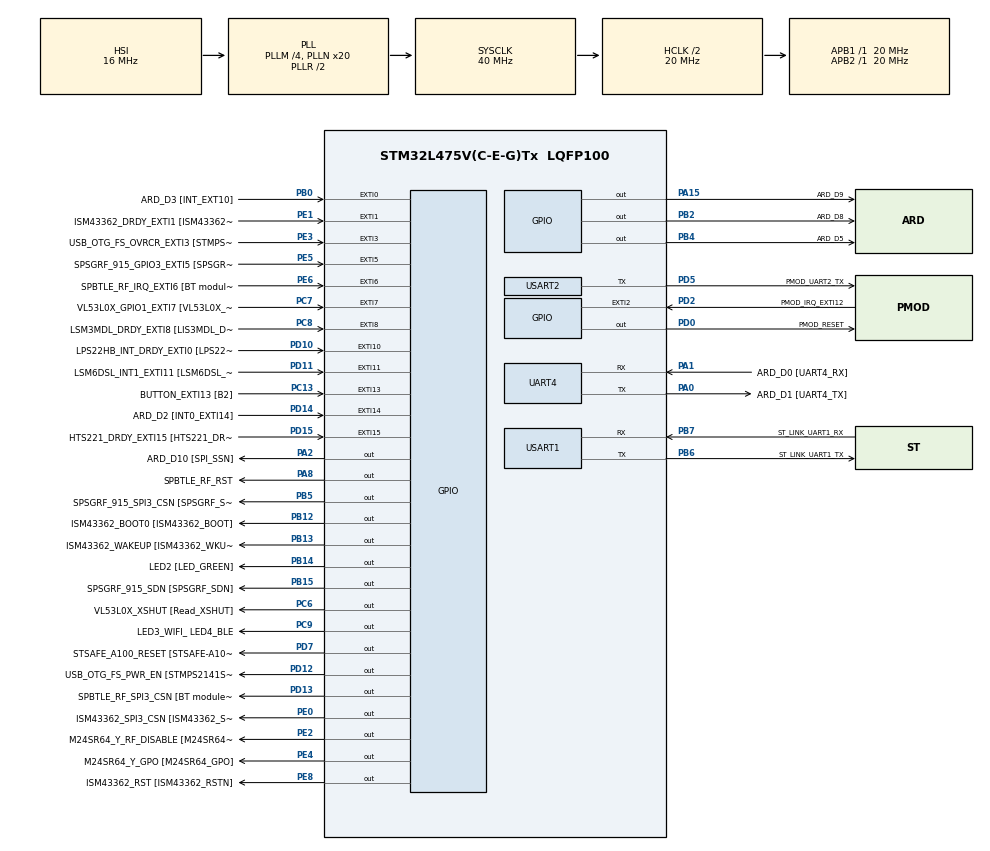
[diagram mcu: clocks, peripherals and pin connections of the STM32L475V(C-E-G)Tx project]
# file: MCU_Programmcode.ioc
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Dma.Request0=UART4_TX
Dma.Request1=USART1_TX
Dma.UART4_TX.0.Direction=DMA_MEMORY_TO_PERIPH
Dma.UART4_TX.0.Instance=DMA2_Channel3
Dma.UART4_TX.0.MemDataAlignment=DMA_MDATAALIGN_BYTE
Dma.UART4_TX.0.MemInc=DMA_MINC_ENABLE
Dma.UART4_TX.0.Mode=DMA_NORMAL
Dma.UART4_TX.0.PeriphDataAlignment=DMA_PDATAALIGN_BYTE
Dma.UART4_TX.0.PeriphInc=DMA_PINC_DISABLE
Dma.UART4_TX.0.Priority=DMA_PRIORITY_LOW
Dma.USART1_TX.1.Direction=DMA_MEMORY_TO_PERIPH
Dma.USART1_TX.1.Instance=DMA1_Channel4
Dma.USART1_TX.1.MemDataAlignment=DMA_MDATAALIGN_BYTE
Dma.USART1_TX.1.MemInc=DMA_MINC_ENABLE
Dma.USART1_TX.1.Mode=DMA_NORMAL
Dma.USART1_TX.1.PeriphDataAlignment=DMA_PDATAALIGN_BYTE
Dma.USART1_TX.1.PeriphInc=DMA_PINC_DISABLE
Dma.USART1_TX.1.Priority=DMA_PRIORITY_LOW
Mcu.Family=STM32L4
Mcu.Name=STM32L475V(C-E-G)Tx
Mcu.Package=LQFP100
NVIC.DMA1_Channel4_IRQn=true\:0\:0\:false\:false\:true\:false\:true\:true
NVIC.DMA2_Channel3_IRQn=true\:0\:0\:false\:false\:true\:false\:true\:true
NVIC.EXTI15_10_IRQn=true\:0\:0\:false\:false\:true\:true\:true\:true
NVIC.EXTI9_5_IRQn=true\:0\:0\:false\:false\:true\:true\:true\:true
NVIC.PriorityGroup=NVIC_PRIORITYGROUP_4
NVIC.UART4_IRQn=true\:0\:0\:false\:false\:true\:true\:true\:true
NVIC.USART1_IRQn=true\:0\:0\:false\:false\:true\:true\:true\:true
PA0.GPIO_Label=ARD_D1 [UART4_TX]
PA0.Mode=Asynchronous
PA0.Signal=UART4_TX
PA1.GPIO_Label=ARD_D0 [UART4_RX]
PA1.Mode=Asynchronous
PA1.Signal=UART4_RX
PA10.GPIO_Label=USB_OTG_FS_ID
PA10.Signal=USB_OTG_FS_ID
PA11.GPIO_Label=USB_OTG_FS_DM
PA11.Signal=USB_OTG_FS_DM
PA12.GPIO_Label=USB_OTG_FS_DP
PA12.Signal=USB_OTG_FS_DP
PA13\ (JTMS-SWDIO).GPIO_Label=SYS_JTMS_SWDIO
PA13\ (JTMS-SWDIO).Signal=SYS_JTMS-SWDIO
PA14\ (JTCK-SWCLK).GPIO_Label=SYS_JTCK_SWCLK
PA14\ (JTCK-SWCLK).Signal=SYS_JTCK-SWCLK
PA15\ (JTDI).GPIO_Label=ARD_D9
PA15\ (JTDI).Signal=GPIO_Output
PA2.GPIO_Label=ARD_D10 [SPI_SSN]
PA2.Signal=GPIO_Output
PA3.GPIO_Label=ARD_D4
PA3.Signal=S_TIM2_CH4
PA4.GPIO_Label=ARD_D7
PA4.Signal=ADCx_IN9
PA5.GPIO_Label=ARD_D13 [SPI1_SCK]
PA5.Signal=SPI1_SCK
PA6.GPIO_Label=ARD_D12 [SPI1_MISO]
PA6.Signal=SPI1_MISO
PA7.GPIO_Label=ARD_D11 [SPI1_MOSI]
PA7.Signal=SPI1_MOSI
PA8.GPIO_Label=SPBTLE_RF_RST
PA8.Signal=GPIO_Output
PA9.GPIO_Label=USB_OTG_FS_VBUS [STMPS2141STR_OUT]
PA9.Signal=USB_OTG_FS_VBUS
PB0.GPIO_Label=ARD_D3 [INT_EXT10]
PB0.Signal=GPXTI0
PB1.GPIO_Label=ARD_D6 [ADC1_IN6]
PB1.Signal=ADCx_IN16
PB10.GPIO_Label=INTERNAL_I2C2_SCL [VL53L0X_SCL]
PB10.GPIO_Pu=GPIO_PULLUP
PB10.Signal=I2C2_SCL
PB11.GPIO_Label=INTERNAL_I2C2_SDA [VL53L0X_SDA]
PB11.GPIO_Pu=GPIO_PULLUP
PB11.Signal=I2C2_SDA
PB12.GPIO_Label=ISM43362_BOOT0 [ISM43362_BOOT]
PB12.Signal=GPIO_Output
PB13.GPIO_Label=ISM43362_WAKEUP [ISM43362_WKUP]
PB13.Signal=GPIO_Output
PB14.GPIO_Label=LED2 [LED_GREEN]
PB14.Signal=GPIO_Output
PB15.GPIO_Label=SPSGRF_915_SDN [SPSGRF_SDN]
PB15.Signal=GPIO_Output
PB2.GPIO_Label=ARD_D8
PB2.Signal=GPIO_Output
PB3\ (JTDO-TRACESWO).GPIO_Label=SYS_JTD0_SWO
PB3\ (JTDO-TRACESWO).Signal=SYS_JTDO-SWO
PB4\ (NJTRST).GPIO_Label=ARD_D5
PB4\ (NJTRST).Signal=GPIO_Output
PB5.GPIO_Label=SPSGRF_915_SPI3_CSN [SPSGRF_SPI_CS]
PB5.PinState=GPIO_PIN_SET
PB5.Signal=GPIO_Output
PB6.GPIO_Label=ST_LINK_UART1_TX
PB6.Mode=Asynchronous
PB6.Signal=USART1_TX
PB7.GPIO_Label=ST_LINK_UART1_RX
PB7.Mode=Asynchronous
PB7.Signal=USART1_RX
PB8.GPIO_Label=ARD_D15 [I2C1_SCL]
PB8.Signal=I2C1_SCL
PB9.GPIO_Label=ARD_D14 [I2C1_SDA]
PB9.Signal=I2C1_SDA
PC0.GPIO_Label=ARD_A5 [ADC]
PC0.Signal=ADCx_IN1
PC1.GPIO_Label=ARD_A4 [ADC]
PC1.Signal=ADCx_IN2
PC10.GPIO_Label=INTERNAL_SPI3_SCK [BT module_SPI_SCLK] [ISM43362_SCK]
PC10.Signal=SPI3_SCK
PC11.GPIO_Label=INTERNAL_SPI3_MISO [BT module_SPI_MISO] [ISM43362_MISO]
PC11.Signal=SPI3_MISO
PC12.GPIO_Label=INTERNAL_SPI3_MOSI [BT module_SPI_MOSI] [ISM43362_MOSI]
PC12.Signal=SPI3_MOSI
PC13.GPIO_Label=BUTTON_EXTI13 [B2]
PC13.GPIO_ModeDefaultEXTI=GPIO_MODE_IT_FALLING
PC13.Signal=GPXTI13
PC14-OSC32_IN\ (PC14).Signal=RCC_OSC32_IN
PC15-OSC32_OUT\ (PC15).Signal=RCC_OSC32_OUT
PC2.GPIO_Label=ARD_A3 [ADC]
PC2.Signal=ADCx_IN3
PC3.GPIO_Label=ARD_A2 [ADC]
PC3.Signal=ADCx_IN4
PC4.GPIO_Label=ARD_A1 [ADC]
PC4.Signal=ADCx_IN13
PC5.GPIO_Label=ARD_A0 [ADC]
PC5.Signal=ADCx_IN14
PC6.GPIO_Label=VL53L0X_XSHUT [Read_XSHUT]
PC6.Signal=GPIO_Output
PC7.GPIO_Label=VL53L0X_GPIO1_EXTI7 [VL53L0X_GPIO1]
PC7.Signal=GPXTI7
PC8.GPIO_Label=LSM3MDL_DRDY_EXTI8 [LIS3MDL_DRDY]
PC8.Signal=GPXTI8
PC9.GPIO_Label=LED3_WIFI_ LED4_BLE
PC9.Signal=GPIO_Output
PD0.GPIO_Label=PMOD_RESET
PD0.Signal=GPIO_Output
PD1.GPIO_Label=PMOD_SPI2_SCK
PD1.Signal=SPI2_SCK
PD10.GPIO_Label=LPS22HB_INT_DRDY_EXTI0 [LPS22HB_INT_DRDY] 
PD10.Signal=GPXTI10
PD11.GPIO_Label=LSM6DSL_INT1_EXTI11 [LSM6DSL_INT1]
PD11.Signal=GPXTI11
PD12.GPIO_Label=USB_OTG_FS_PWR_EN [STMPS2141STR_EN]
PD12.Signal=GPIO_Output
PD13.GPIO_Label=SPBTLE_RF_SPI3_CSN [BT module_SPI_CS]
PD13.PinState=GPIO_PIN_SET
PD13.Signal=GPIO_Output
PD14.GPIO_Label=ARD_D2 [INT0_EXTI14]
PD14.Signal=GPXTI14
PD15.GPIO_Label=HTS221_DRDY_EXTI15 [HTS221_DRDY]
PD15.Signal=GPXTI15
PD2.GPIO_Label=PMOD_IRQ_EXTI12
PD2.Signal=GPXTI2
PD3.GPIO_Label=PMOD_UART2_CTS
PD3.Signal=USART2_CTS
PD4.GPIO_Label=PMOD_UART2_RTS
PD4.Signal=USART2_RTS
PD5.GPIO_Label=PMOD_UART2_TX
PD5.Mode=ModbusCommunication
PD5.Signal=USART2_TX
PD6.GPIO_Label=PMOD_UART2_RX
PD6.Signal=USART2_RX
PD7.GPIO_Label=STSAFE_A100_RESET [STSAFE-A100_RESET]
PD7.Signal=GPIO_Output
PD8.GPIO_Label=INTERNAL_UART3_TX [ISM43362_RX]
PD8.Signal=USART3_TX
PD9.GPIO_Label=INTERNAL_UART3_RX [ISM43362_TX]
PD9.Signal=USART3_RX
PE0.GPIO_Label=ISM43362_SPI3_CSN [ISM43362_SSN]
PE0.PinState=GPIO_PIN_SET
PE0.Signal=GPIO_Output
PE1.GPIO_Label=ISM43362_DRDY_EXTI1 [ISM43362_DATARDY]
PE1.Signal=GPXTI1
PE10.GPIO_Label=QUADSPI_CLK [MX25R6435F_SCLK]
PE10.Signal=QUADSPI_CLK
PE11.GPIO_Label=QUADSPI_NCS [MX25R6435F_SCLK]
PE11.Signal=QUADSPI_NCS
PE12.GPIO_Label=OQUADSPI_BK1_IO0 [MX25R6435F_IO0]
PE12.Signal=QUADSPI_BK1_IO0
PE13.GPIO_Label=QUADSPI_BK1_IO1 [MX25R6435F_IO1]
PE13.Signal=QUADSPI_BK1_IO1
PE14.GPIO_Label=QUAD_SPI_BK1_IO2 [MX25R6435F_IO2]
PE14.Signal=QUADSPI_BK1_IO2
PE15.GPIO_Label=QUAD_SPI_BK1_IO3 [MX25R6435F_IO3]
PE15.Signal=QUADSPI_BK1_IO3
PE2.GPIO_Label=M24SR64_Y_RF_DISABLE [M24SR64_RFDIS]
PE2.Signal=GPIO_Output
PE3.GPIO_Label=USB_OTG_FS_OVRCR_EXTI3 [STMPS2141STR_FAULT]
PE3.Signal=GPXTI3
PE4.GPIO_Label=M24SR64_Y_GPO [M24SR64_GPO]
PE4.Signal=GPIO_Output
PE5.GPIO_Label=SPSGRF_915_GPIO3_EXTI5 [SPSGRF_GPIO_3]
PE5.Signal=GPXTI5
PE6.GPIO_Label=SPBTLE_RF_IRQ_EXTI6 [BT module_SPI_IRQ]
PE6.Signal=GPXTI6
PE7.GPIO_Label=DFSDM1_DATIN2 [MP34DT01_DOUT]
PE7.Signal=S_DATAIN2DFSDM1
PE8.GPIO_Label=ISM43362_RST [ISM43362_RSTN]
PE8.Signal=GPIO_Output
PE9.GPIO_Label=DFSDM1_CKOUT [MP34DT01_CLK]
PE9.Signal=S_CKOUTDFSDM1
ProjectManager.HeapSize=0x200
ProjectManager.StackSize=0x2000
ProjectManager.TargetToolchain=STM32CubeIDE
RCC.ADCFreq_Value=48000000
RCC.AHBCLKDivider=RCC_SYSCLK_DIV2
RCC.AHBFreq_Value=20000000
RCC.APB1Freq_Value=20000000
RCC.APB1TimFreq_Value=20000000
RCC.APB2Freq_Value=20000000
RCC.APB2TimFreq_Value=20000000
RCC.CortexFreq_Value=20000000
RCC.HCLKFreq_Value=20000000
RCC.HSE_VALUE=8000000
RCC.HSI_VALUE=16000000
RCC.LSE_VALUE=32768
RCC.MSI_VALUE=4000000
RCC.PLLM=4
RCC.PLLN=20
RCC.PLLSAI1N=24
RCC.PLLSourceVirtual=RCC_PLLSOURCE_HSI
RCC.SYSCLKFreq_VALUE=40000000
RCC.SYSCLKSource=RCC_SYSCLKSOURCE_PLLCLK
RCC.USBFreq_Value=48000000
RCC.VCOOutputFreq_Value=80000000
SH.ADCx_IN1.0=ADC1_IN1
SH.ADCx_IN13.0=ADC1_IN13
SH.ADCx_IN14.0=ADC1_IN14
SH.ADCx_IN16.0=ADC1_IN16
SH.ADCx_IN2.0=ADC1_IN2
SH.ADCx_IN3.0=ADC1_IN3
SH.ADCx_IN4.0=ADC1_IN4
SH.ADCx_IN9.0=ADC1_IN9
SH.S_CKOUTDFSDM1.0=DFSDM1_CKOUT
SH.S_DATAIN2DFSDM1.0=DFSDM1_DATIN2
SH.S_TIM2_CH4.0=TIM2_CH4
USART1.VirtualMode-Asynchronous=VM_ASYNC
board=B-L475E-IOT01A2

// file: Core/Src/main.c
/* USER CODE BEGIN Header */
/**
  ******************************************************************************
  * @file           : main.c
  * @brief          : Main program body
  ******************************************************************************
  * @attention
  *
  * Copyright (c) 2026 STMicroelectronics.
  * All rights reserved.
  *
  * This software is licensed under terms that can be found in the LICENSE file
  * in the root directory of this software component.
  * If no LICENSE file comes with this software, it is provided AS-IS.
  *
  ******************************************************************************
  */
/* USER CODE END Header */
#include "main.h"

#define ISMAIN	//sets some variables from external to static in config file
/* USER CODE BEGIN Includes */
#include <string.h>
#include "project_config.h"
#include "modbus_master.h"
#include "tiny_os.h"
#include "terminal_sim.h"
#include "elevator_FSM.h"

/* USER CODE END Includes */

/* USER CODE BEGIN PD */
#define TIMEBLOCK_MS 100
#define APPCHECK_BLK 1
#define SIMCHECK_BLK 5
#define LEDCHECK_BLK 5
#define DBGCHECK_BLK 5

/* USER CODE END PD */

UART_HandleTypeDef huart4;
UART_HandleTypeDef huart2;
UART_HandleTypeDef huart1;
DMA_HandleTypeDef hdma_uart4_tx;
DMA_HandleTypeDef hdma_usart1_tx;
DMA_HandleTypeDef hdma_usart2_tx;

/* USER CODE BEGIN PV */
SystemConfig_t SysConfig;
SystemState_t SysState;

/* USER CODE END PV */

void SystemClock_Config(void);
static void MX_GPIO_Init(void);
static void MX_DMA_Init(void);
static void MX_USART1_UART_Init(void);
static void MX_UART4_Init(void);
static void MX_USART2_Init(void);

int main(void)
{
  uint32_t WorkList = ALL_EVENTS;
  uint32_t last_chk_time	= 0;
  uint32_t last_sim_update  = 0;
  uint32_t last_app_update  = 0;
  uint32_t rest_until_blck	= 0; //Restzeit auf die nächsten 100ms (jitter ausgleich!)
  uint8_t  led_500ms_count	= 0;

  /* MCU Configuration--------------------------------------------------------*/

  /* Reset of all peripherals, Initializes the Flash interface and the Systick. */
  HAL_Init();

  /* Configure the system clock */
  SystemClock_Config();

  /* Initialize all configured peripherals */
  MX_GPIO_Init();
  MX_DMA_Init();
  MX_USART1_UART_Init();
  MX_UART4_Init();
  MX_USART2_Init();

  /* USER CODE BEGIN 2 */
  memset(&SysConfig, 0, sizeof(SysConfig));
  memset(&SysState, 0, sizeof(SysState));

  MB_Init(&huart2);       // initialisierung der Modbus
  SIM_Init(&huart1);      //UART-Handlers und der Simulator
  TERM_Init(&huart4);     //UART-Handlers für den Terminal

  FSM_Init();
  /* USER CODE END 2 */

  SysConfig.MaxFloors = 3;

  /* Infinite loop */
  while (1)
  {
	  //Abarbeiten der Tasks:
	  if (WorkList & MODBUS_EVENT)
	  {
		  ResetEvent(MODBUS_EVENT); //Zurücksetzen, um neue Events während abarbeitung zu ermöglichen
		  MB_Process();    			// Modbus Master Engine
	  }
	  if (WorkList & SIMUL_EVENT)
	  {
		  ParseSimulation();
		  SIM_Process();
		  ResetEvent(SIMUL_EVENT); //Zurücksetzen, um neue Events während abarbeitung zu ermöglichen
	  }
	  if (WorkList & DEBUG_EVENT)
	  {
		  ParseCommand();
		  TERM_Process();
		  ResetEvent(DEBUG_EVENT); 	//Zurücksetzen, um neue Events während abarbeitung zu ermöglichen
	  }
	  if (WorkList & APP_EVENT)
	  {
		  //Alive LED
		  if (led_500ms_count++ >= LEDCHECK_BLK)
		  {
			  GPIO_PinState LED;
			  LED = HAL_GPIO_ReadPin(GPIOB, LED2_Pin);
			  HAL_GPIO_WritePin(GPIOB, LED2_Pin, LED==GPIO_PIN_SET?GPIO_PIN_RESET:GPIO_PIN_SET);
			  led_500ms_count = 0;
	      }

		  //APP
		  FSM_Cycle_100ms();

		  ResetEvent(APP_EVENT); 	//Zurücksetzen, um neue Events während abarbeitung zu ermöglichen
	  }

	  //Time and Jitter handling
	  last_chk_time = HAL_GetTick();

	  //Time Trigger for Simulation
      if (last_chk_time - last_sim_update >= SIMCHECK_BLK * TIMEBLOCK_MS) {  // hier wird die applikation jede 500ms geupdate
    	  SetEvent(SIMUL_EVENT);
    	  SetEvent(DEBUG_EVENT);
          last_sim_update = last_chk_time;
      }

      //trigger für die APP
      if (last_chk_time - last_app_update >= APPCHECK_BLK * TIMEBLOCK_MS) {  // hier wird die applikation jede 500ms geupdate
    	  SetEvent(APP_EVENT);
          last_app_update = last_chk_time;
      }

	  //More to do? Yes => Work! NO => Wait
	  WorkList = GetEvent();
	  if (!WorkList)
	  {
		  rest_until_blck = TIMEBLOCK_MS - (last_chk_time % TIMEBLOCK_MS);
		  if (rest_until_blck == 0 || rest_until_blck > TIMEBLOCK_MS) rest_until_blck = TIMEBLOCK_MS;
		  WorkList = LowPower_Delay(rest_until_blck);   // HW Delay (ausführung im 100ms raster o. event-gesteuert)
	  }
  }
}

void SystemClock_Config(void)
{
  RCC_OscInitTypeDef RCC_OscInitStruct = {0};
  RCC_ClkInitTypeDef RCC_ClkInitStruct = {0};

  /** Configure the main internal regulator output voltage
  */
  if (HAL_PWREx_ControlVoltageScaling(PWR_REGULATOR_VOLTAGE_SCALE1) != HAL_OK)
  {
    Error_Handler();
  }

  /** Initializes the RCC Oscillators according to the specified parameters
  * in the RCC_OscInitTypeDef structure.
  */
  RCC_OscInitStruct.OscillatorType = RCC_OSCILLATORTYPE_HSI;
  RCC_OscInitStruct.HSIState = RCC_HSI_ON;
  RCC_OscInitStruct.HSICalibrationValue = RCC_HSICALIBRATION_DEFAULT;
  RCC_OscInitStruct.PLL.PLLState = RCC_PLL_ON;
  RCC_OscInitStruct.PLL.PLLSource = RCC_PLLSOURCE_HSI;
  RCC_OscInitStruct.PLL.PLLM = 4;
  RCC_OscInitStruct.PLL.PLLN = 20;
  RCC_OscInitStruct.PLL.PLLP = RCC_PLLP_DIV7;
  RCC_OscInitStruct.PLL.PLLQ = RCC_PLLQ_DIV2;
  RCC_OscInitStruct.PLL.PLLR = RCC_PLLR_DIV2;
  if (HAL_RCC_OscConfig(&RCC_OscInitStruct) != HAL_OK)
  {
    Error_Handler();
  }

  /** Initializes the CPU, AHB and APB buses clocks
  */
  RCC_ClkInitStruct.ClockType = RCC_CLOCKTYPE_HCLK|RCC_CLOCKTYPE_SYSCLK
                              |RCC_CLOCKTYPE_PCLK1|RCC_CLOCKTYPE_PCLK2;
  RCC_ClkInitStruct.SYSCLKSource = RCC_SYSCLKSOURCE_PLLCLK;
  RCC_ClkInitStruct.AHBCLKDivider = RCC_SYSCLK_DIV2;
  RCC_ClkInitStruct.APB1CLKDivider = RCC_HCLK_DIV1;
  RCC_ClkInitStruct.APB2CLKDivider = RCC_HCLK_DIV1;

  if (HAL_RCC_ClockConfig(&RCC_ClkInitStruct, FLASH_LATENCY_1) != HAL_OK)
  {
    Error_Handler();
  }
}

static void MX_UART4_Init(void)
{

  huart4.Instance = UART4;
  huart4.Init.BaudRate = 115200;
  huart4.Init.WordLength = UART_WORDLENGTH_8B;
  huart4.Init.StopBits = UART_STOPBITS_1;
  huart4.Init.Parity = UART_PARITY_NONE;
  huart4.Init.Mode = UART_MODE_TX_RX;
  huart4.Init.HwFlowCtl = UART_HWCONTROL_NONE;
  huart4.Init.OverSampling = UART_OVERSAMPLING_16;
  huart4.Init.OneBitSampling = UART_ONE_BIT_SAMPLE_DISABLE;
  huart4.AdvancedInit.AdvFeatureInit = UART_ADVFEATURE_NO_INIT;
  if (HAL_UART_Init(&huart4) != HAL_OK)
  {
    Error_Handler();
  }

}

static void MX_USART1_UART_Init(void)
{

  huart1.Instance = USART1;
  huart1.Init.BaudRate = 115200;
  huart1.Init.WordLength = UART_WORDLENGTH_8B;
  huart1.Init.StopBits = UART_STOPBITS_1;
  huart1.Init.Parity = UART_PARITY_NONE;
  huart1.Init.Mode = UART_MODE_TX_RX;
  huart1.Init.HwFlowCtl = UART_HWCONTROL_NONE;
  huart1.Init.OverSampling = UART_OVERSAMPLING_16;
  huart1.Init.OneBitSampling = UART_ONE_BIT_SAMPLE_DISABLE;
  huart1.AdvancedInit.AdvFeatureInit = UART_ADVFEATURE_NO_INIT;
  if (HAL_UART_Init(&huart1) != HAL_OK)
  {
    Error_Handler();
  }

}

static void MX_USART2_Init(void)
{

  /* USER CODE BEGIN USART2_Init 1 */
  huart2.Instance = USART2;
  huart2.Init.BaudRate = 19200 ;
  huart2.Init.WordLength = UART_WORDLENGTH_9B;
  huart2.Init.StopBits = UART_STOPBITS_1;
  huart2.Init.Parity = UART_PARITY_EVEN;
  huart2.Init.Mode = UART_MODE_TX_RX;
  huart2.Init.HwFlowCtl = UART_HWCONTROL_NONE;
  huart2.Init.OverSampling = UART_OVERSAMPLING_16;
  huart2.Init.OneBitSampling = UART_ONE_BIT_SAMPLE_DISABLE;
  huart2.AdvancedInit.AdvFeatureInit = UART_ADVFEATURE_NO_INIT;
  if (HAL_RS485Ex_Init(&huart2, UART_DE_POLARITY_HIGH, 0, 0) != HAL_OK)
  {
	Error_Handler();
  }
  /* USER CODE END USART2_Init 1 */

}

static void MX_DMA_Init(void)
{

  /* DMA controller clock enable */
  __HAL_RCC_DMA2_CLK_ENABLE();
  __HAL_RCC_DMA1_CLK_ENABLE();

  /* DMA interrupt init */
  /* DMA1_Channel4_IRQn interrupt configuration */
  HAL_NVIC_SetPriority(DMA1_Channel4_IRQn, 0, 0);
  HAL_NVIC_EnableIRQ(DMA1_Channel4_IRQn);
  /* DMA1_Channel7_IRQn interrupt configuration */
  HAL_NVIC_SetPriority(DMA1_Channel7_IRQn, 0, 0);
  HAL_NVIC_EnableIRQ(DMA1_Channel7_IRQn);
  /* DMA2_Channel3_IRQn interrupt configuration */
  HAL_NVIC_SetPriority(DMA2_Channel3_IRQn, 0, 0);
  HAL_NVIC_EnableIRQ(DMA2_Channel3_IRQn);

}

static void MX_GPIO_Init(void)
{
  GPIO_InitTypeDef GPIO_InitStruct = {0};

  /* GPIO Ports Clock Enable */
  __HAL_RCC_GPIOE_CLK_ENABLE();
  __HAL_RCC_GPIOC_CLK_ENABLE();
  __HAL_RCC_GPIOA_CLK_ENABLE();
  __HAL_RCC_GPIOB_CLK_ENABLE();
  __HAL_RCC_GPIOD_CLK_ENABLE();

  /*Configure GPIO pin Output Level */
  HAL_GPIO_WritePin(GPIOE, M24SR64_Y_RF_DISABLE_Pin|M24SR64_Y_GPO_Pin|ISM43362_RST_Pin, GPIO_PIN_RESET);

  /*Configure GPIO pin Output Level */
  HAL_GPIO_WritePin(GPIOA, ARD_D10_Pin|SPBTLE_RF_RST_Pin|ARD_D9_Pin, GPIO_PIN_RESET);

  /*Configure GPIO pin Output Level */
  HAL_GPIO_WritePin(GPIOB, ARD_D8_Pin|ISM43362_BOOT0_Pin|ISM43362_WAKEUP_Pin|LED2_Pin
                          |SPSGRF_915_SDN_Pin|ARD_D5_Pin, GPIO_PIN_RESET);

  /*Configure GPIO pin Output Level */
  HAL_GPIO_WritePin(GPIOD, USB_OTG_FS_PWR_EN_Pin|PMOD_RESET_Pin|STSAFE_A100_RESET_Pin, GPIO_PIN_RESET);

  /*Configure GPIO pin Output Level */
  HAL_GPIO_WritePin(SPBTLE_RF_SPI3_CSN_GPIO_Port, SPBTLE_RF_SPI3_CSN_Pin, GPIO_PIN_SET);

  /*Configure GPIO pin Output Level */
  HAL_GPIO_WritePin(GPIOC, VL53L0X_XSHUT_Pin|LED3_WIFI__LED4_BLE_Pin, GPIO_PIN_RESET);

  /*Configure GPIO pin Output Level */
  HAL_GPIO_WritePin(SPSGRF_915_SPI3_CSN_GPIO_Port, SPSGRF_915_SPI3_CSN_Pin, GPIO_PIN_SET);

  /*Configure GPIO pin Output Level */
  HAL_GPIO_WritePin(ISM43362_SPI3_CSN_GPIO_Port, ISM43362_SPI3_CSN_Pin, GPIO_PIN_SET);

  /*Configure GPIO pins : M24SR64_Y_RF_DISABLE_Pin M24SR64_Y_GPO_Pin ISM43362_RST_Pin ISM43362_SPI3_CSN_Pin */
  GPIO_InitStruct.Pin = M24SR64_Y_RF_DISABLE_Pin|M24SR64_Y_GPO_Pin|ISM43362_RST_Pin|ISM43362_SPI3_CSN_Pin;
  GPIO_InitStruct.Mode = GPIO_MODE_OUTPUT_PP;
  GPIO_InitStruct.Pull = GPIO_NOPULL;
  GPIO_InitStruct.Speed = GPIO_SPEED_FREQ_LOW;
  HAL_GPIO_Init(GPIOE, &GPIO_InitStruct);

  /*Configure GPIO pins : USB_OTG_FS_OVRCR_EXTI3_Pin SPSGRF_915_GPIO3_EXTI5_Pin SPBTLE_RF_IRQ_EXTI6_Pin ISM43362_DRDY_EXTI1_Pin */
  GPIO_InitStruct.Pin = USB_OTG_FS_OVRCR_EXTI3_Pin|SPSGRF_915_GPIO3_EXTI5_Pin|SPBTLE_RF_IRQ_EXTI6_Pin|ISM43362_DRDY_EXTI1_Pin;
  GPIO_InitStruct.Mode = GPIO_MODE_IT_RISING;
  GPIO_InitStruct.Pull = GPIO_NOPULL;
  HAL_GPIO_Init(GPIOE, &GPIO_InitStruct);

  /*Configure GPIO pin : BUTTON_EXTI13_Pin */
  GPIO_InitStruct.Pin = BUTTON_EXTI13_Pin;
  GPIO_InitStruct.Mode = GPIO_MODE_IT_FALLING;
  GPIO_InitStruct.Pull = GPIO_NOPULL;
  HAL_GPIO_Init(BUTTON_EXTI13_GPIO_Port, &GPIO_InitStruct);

  /*Configure GPIO pins : ARD_A5_Pin ARD_A4_Pin ARD_A3_Pin ARD_A2_Pin
                           ARD_A1_Pin ARD_A0_Pin */
  GPIO_InitStruct.Pin = ARD_A5_Pin|ARD_A4_Pin|ARD_A3_Pin|ARD_A2_Pin
                          |ARD_A1_Pin|ARD_A0_Pin;
  GPIO_InitStruct.Mode = GPIO_MODE_ANALOG_ADC_CONTROL;
  GPIO_InitStruct.Pull = GPIO_NOPULL;
  HAL_GPIO_Init(GPIOC, &GPIO_InitStruct);

  /*Configure GPIO pins : ARD_D10_Pin SPBTLE_RF_RST_Pin ARD_D9_Pin */
  GPIO_InitStruct.Pin = ARD_D10_Pin|SPBTLE_RF_RST_Pin|ARD_D9_Pin;
  GPIO_InitStruct.Mode = GPIO_MODE_OUTPUT_PP;
  GPIO_InitStruct.Pull = GPIO_NOPULL;
  GPIO_InitStruct.Speed = GPIO_SPEED_FREQ_LOW;
  HAL_GPIO_Init(GPIOA, &GPIO_InitStruct);

  /*Configure GPIO pin : ARD_D4_Pin */
  GPIO_InitStruct.Pin = ARD_D4_Pin;
  GPIO_InitStruct.Mode = GPIO_MODE_AF_PP;
  GPIO_InitStruct.Pull = GPIO_NOPULL;
  GPIO_InitStruct.Speed = GPIO_SPEED_FREQ_LOW;
  GPIO_InitStruct.Alternate = GPIO_AF1_TIM2;
  HAL_GPIO_Init(ARD_D4_GPIO_Port, &GPIO_InitStruct);

  /*Configure GPIO pin : ARD_D7_Pin */
  GPIO_InitStruct.Pin = ARD_D7_Pin;
  GPIO_InitStruct.Mode = GPIO_MODE_ANALOG_ADC_CONTROL;
  GPIO_InitStruct.Pull = GPIO_NOPULL;
  HAL_GPIO_Init(ARD_D7_GPIO_Port, &GPIO_InitStruct);

  /*Configure GPIO pins : ARD_D13_Pin ARD_D12_Pin ARD_D11_Pin */
  GPIO_InitStruct.Pin = ARD_D13_Pin|ARD_D12_Pin|ARD_D11_Pin;
  GPIO_InitStruct.Mode = GPIO_MODE_AF_PP;
  GPIO_InitStruct.Pull = GPIO_NOPULL;
  GPIO_InitStruct.Speed = GPIO_SPEED_FREQ_VERY_HIGH;
  GPIO_InitStruct.Alternate = GPIO_AF5_SPI1;
  HAL_GPIO_Init(GPIOA, &GPIO_InitStruct);

  /*Configure GPIO pin : ARD_D3_Pin */
  GPIO_InitStruct.Pin = ARD_D3_Pin;
  GPIO_InitStruct.Mode = GPIO_MODE_IT_RISING;
  GPIO_InitStruct.Pull = GPIO_NOPULL;
  HAL_GPIO_Init(ARD_D3_GPIO_Port, &GPIO_InitStruct);

  /*Configure GPIO pin : ARD_D6_Pin */
  GPIO_InitStruct.Pin = ARD_D6_Pin;
  GPIO_InitStruct.Mode = GPIO_MODE_ANALOG_ADC_CONTROL;
  GPIO_InitStruct.Pull = GPIO_NOPULL;
  HAL_GPIO_Init(ARD_D6_GPIO_Port, &GPIO_InitStruct);

  /*Configure GPIO pins : ARD_D8_Pin ISM43362_BOOT0_Pin ISM43362_WAKEUP_Pin LED2_Pin
                           SPSGRF_915_SDN_Pin ARD_D5_Pin SPSGRF_915_SPI3_CSN_Pin */
  GPIO_InitStruct.Pin = ARD_D8_Pin|ISM43362_BOOT0_Pin|ISM43362_WAKEUP_Pin|LED2_Pin
                          |SPSGRF_915_SDN_Pin|ARD_D5_Pin|SPSGRF_915_SPI3_CSN_Pin;
  GPIO_InitStruct.Mode = GPIO_MODE_OUTPUT_PP;
  GPIO_InitStruct.Pull = GPIO_NOPULL;
  GPIO_InitStruct.Speed = GPIO_SPEED_FREQ_LOW;
  HAL_GPIO_Init(GPIOB, &GPIO_InitStruct);

  /*Configure GPIO pins : DFSDM1_DATIN2_Pin DFSDM1_CKOUT_Pin */
  GPIO_InitStruct.Pin = DFSDM1_DATIN2_Pin|DFSDM1_CKOUT_Pin;
  GPIO_InitStruct.Mode = GPIO_MODE_AF_PP;
  GPIO_InitStruct.Pull = GPIO_NOPULL;
  GPIO_InitStruct.Speed = GPIO_SPEED_FREQ_LOW;
  GPIO_InitStruct.Alternate = GPIO_AF6_DFSDM1;
  HAL_GPIO_Init(GPIOE, &GPIO_InitStruct);

  /*Configure GPIO pins : QUADSPI_CLK_Pin QUADSPI_NCS_Pin OQUADSPI_BK1_IO0_Pin QUADSPI_BK1_IO1_Pin
                           QUAD_SPI_BK1_IO2_Pin QUAD_SPI_BK1_IO3_Pin */
  GPIO_InitStruct.Pin = QUADSPI_CLK_Pin|QUADSPI_NCS_Pin|OQUADSPI_BK1_IO0_Pin|QUADSPI_BK1_IO1_Pin
                          |QUAD_SPI_BK1_IO2_Pin|QUAD_SPI_BK1_IO3_Pin;
  GPIO_InitStruct.Mode = GPIO_MODE_AF_PP;
  GPIO_InitStruct.Pull = GPIO_NOPULL;
  GPIO_InitStruct.Speed = GPIO_SPEED_FREQ_VERY_HIGH;
  GPIO_InitStruct.Alternate = GPIO_AF10_QUADSPI;
  HAL_GPIO_Init(GPIOE, &GPIO_InitStruct);

  /*Configure GPIO pins : INTERNAL_I2C2_SCL_Pin INTERNAL_I2C2_SDA_Pin */
  GPIO_InitStruct.Pin = INTERNAL_I2C2_SCL_Pin|INTERNAL_I2C2_SDA_Pin;
  GPIO_InitStruct.Mode = GPIO_MODE_AF_OD;
  GPIO_InitStruct.Pull = GPIO_PULLUP;
  GPIO_InitStruct.Speed = GPIO_SPEED_FREQ_VERY_HIGH;
  GPIO_InitStruct.Alternate = GPIO_AF4_I2C2;
  HAL_GPIO_Init(GPIOB, &GPIO_InitStruct);

  /*Configure GPIO pins : INTERNAL_UART3_TX_Pin INTERNAL_UART3_RX_Pin */
  GPIO_InitStruct.Pin = INTERNAL_UART3_TX_Pin|INTERNAL_UART3_RX_Pin;
  GPIO_InitStruct.Mode = GPIO_MODE_AF_PP;
  GPIO_InitStruct.Pull = GPIO_NOPULL;
  GPIO_InitStruct.Speed = GPIO_SPEED_FREQ_VERY_HIGH;
  GPIO_InitStruct.Alternate = GPIO_AF7_USART3;
  HAL_GPIO_Init(GPIOD, &GPIO_InitStruct);

  /*Configure GPIO pins : LPS22HB_INT_DRDY_EXTI0_Pin LSM6DSL_INT1_EXTI11_Pin ARD_D2_Pin HTS221_DRDY_EXTI15_Pin
                           PMOD_IRQ_EXTI12_Pin */
  GPIO_InitStruct.Pin = LPS22HB_INT_DRDY_EXTI0_Pin|LSM6DSL_INT1_EXTI11_Pin|ARD_D2_Pin|HTS221_DRDY_EXTI15_Pin
                          |PMOD_IRQ_EXTI12_Pin;
  GPIO_InitStruct.Mode = GPIO_MODE_IT_RISING;
  GPIO_InitStruct.Pull = GPIO_NOPULL;
  HAL_GPIO_Init(GPIOD, &GPIO_InitStruct);

  /*Configure GPIO pins : USB_OTG_FS_PWR_EN_Pin SPBTLE_RF_SPI3_CSN_Pin PMOD_RESET_Pin STSAFE_A100_RESET_Pin */
  GPIO_InitStruct.Pin = USB_OTG_FS_PWR_EN_Pin|SPBTLE_RF_SPI3_CSN_Pin|PMOD_RESET_Pin|STSAFE_A100_RESET_Pin;
  GPIO_InitStruct.Mode = GPIO_MODE_OUTPUT_PP;
  GPIO_InitStruct.Pull = GPIO_NOPULL;
  GPIO_InitStruct.Speed = GPIO_SPEED_FREQ_LOW;
  HAL_GPIO_Init(GPIOD, &GPIO_InitStruct);

  /*Configure GPIO pins : VL53L0X_XSHUT_Pin LED3_WIFI__LED4_BLE_Pin */
  GPIO_InitStruct.Pin = VL53L0X_XSHUT_Pin|LED3_WIFI__LED4_BLE_Pin;
  GPIO_InitStruct.Mode = GPIO_MODE_OUTPUT_PP;
  GPIO_InitStruct.Pull = GPIO_NOPULL;
  GPIO_InitStruct.Speed = GPIO_SPEED_FREQ_LOW;
  HAL_GPIO_Init(GPIOC, &GPIO_InitStruct);

  /*Configure GPIO pins : VL53L0X_GPIO1_EXTI7_Pin LSM3MDL_DRDY_EXTI8_Pin */
  GPIO_InitStruct.Pin = VL53L0X_GPIO1_EXTI7_Pin|LSM3MDL_DRDY_EXTI8_Pin;
  GPIO_InitStruct.Mode = GPIO_MODE_IT_RISING;
  GPIO_InitStruct.Pull = GPIO_NOPULL;
  HAL_GPIO_Init(GPIOC, &GPIO_InitStruct);

  /*Configure GPIO pin : USB_OTG_FS_VBUS_Pin */
  GPIO_InitStruct.Pin = USB_OTG_FS_VBUS_Pin;
  GPIO_InitStruct.Mode = GPIO_MODE_INPUT;
  GPIO_InitStruct.Pull = GPIO_NOPULL;
  HAL_GPIO_Init(USB_OTG_FS_VBUS_GPIO_Port, &GPIO_InitStruct);

  /*Configure GPIO pins : USB_OTG_FS_ID_Pin USB_OTG_FS_DM_Pin USB_OTG_FS_DP_Pin */
  GPIO_InitStruct.Pin = USB_OTG_FS_ID_Pin|USB_OTG_FS_DM_Pin|USB_OTG_FS_DP_Pin;
  GPIO_InitStruct.Mode = GPIO_MODE_AF_PP;
  GPIO_InitStruct.Pull = GPIO_NOPULL;
  GPIO_InitStruct.Speed = GPIO_SPEED_FREQ_VERY_HIGH;
  GPIO_InitStruct.Alternate = GPIO_AF10_OTG_FS;
  HAL_GPIO_Init(GPIOA, &GPIO_InitStruct);

  /*Configure GPIO pins : INTERNAL_SPI3_SCK_Pin INTERNAL_SPI3_MISO_Pin INTERNAL_SPI3_MOSI_Pin */
  GPIO_InitStruct.Pin = INTERNAL_SPI3_SCK_Pin|INTERNAL_SPI3_MISO_Pin|INTERNAL_SPI3_MOSI_Pin;
  GPIO_InitStruct.Mode = GPIO_MODE_AF_PP;
  GPIO_InitStruct.Pull = GPIO_NOPULL;
  GPIO_InitStruct.Speed = GPIO_SPEED_FREQ_VERY_HIGH;
  GPIO_InitStruct.Alternate = GPIO_AF6_SPI3;
  HAL_GPIO_Init(GPIOC, &GPIO_InitStruct);

  /*Configure GPIO pin : PMOD_SPI2_SCK_Pin */
  GPIO_InitStruct.Pin = PMOD_SPI2_SCK_Pin;
  GPIO_InitStruct.Mode = GPIO_MODE_AF_PP;
  GPIO_InitStruct.Pull = GPIO_NOPULL;
  GPIO_InitStruct.Speed = GPIO_SPEED_FREQ_VERY_HIGH;
  GPIO_InitStruct.Alternate = GPIO_AF5_SPI2;
  HAL_GPIO_Init(PMOD_SPI2_SCK_GPIO_Port, &GPIO_InitStruct);

  /*Configure GPIO pins : PMOD_UART2_CTS_Pin PMOD_UART2_RTS_Pin PMOD_UART2_TX_Pin PMOD_UART2_RX_Pin */
  GPIO_InitStruct.Pin = PMOD_UART2_CTS_Pin|PMOD_UART2_RTS_Pin|PMOD_UART2_TX_Pin|PMOD_UART2_RX_Pin;
  GPIO_InitStruct.Mode = GPIO_MODE_AF_PP;
  GPIO_InitStruct.Pull = GPIO_NOPULL;
  GPIO_InitStruct.Speed = GPIO_SPEED_FREQ_VERY_HIGH;
  GPIO_InitStruct.Alternate = GPIO_AF7_USART2;
  HAL_GPIO_Init(GPIOD, &GPIO_InitStruct);

  /*Configure GPIO pins : ARD_D15_Pin ARD_D14_Pin */
  GPIO_InitStruct.Pin = ARD_D15_Pin|ARD_D14_Pin;
  GPIO_InitStruct.Mode = GPIO_MODE_AF_OD;
  GPIO_InitStruct.Pull = GPIO_NOPULL;
  GPIO_InitStruct.Speed = GPIO_SPEED_FREQ_VERY_HIGH;
  GPIO_InitStruct.Alternate = GPIO_AF4_I2C1;
  HAL_GPIO_Init(GPIOB, &GPIO_InitStruct);

  /* EXTI interrupt init*/
  HAL_NVIC_SetPriority(EXTI9_5_IRQn, 0, 0);
  HAL_NVIC_EnableIRQ(EXTI9_5_IRQn);

  HAL_NVIC_SetPriority(EXTI15_10_IRQn, 0, 0);
  HAL_NVIC_EnableIRQ(EXTI15_10_IRQn);

}

/* USER CODE BEGIN 4 */
// ============================================================================
// INTERRUPT CALLBACKS
// ============================================================================

//  RX EVENT Callback
void HAL_UARTEx_RxEventCallback(UART_HandleTypeDef *huart, uint16_t Size) {
    if (huart->Instance == USART2) {
        // Modbus Daten empfangen,Idle Line erkannt
        MB_RxEventCallback(Size);
    }
    else if (huart->Instance == USART1) {
    	SIM_RxCpltCallback(huart, Size);
    }
	else if (huart->Instance == UART4) {
	    //SIM_RxCpltCallback(huart, Size);
		TERM_RxCpltCallback(huart);   // wurde verändert
	}
}

// DMA Senden fertig  ,DE-RS485 wieder auf LOW schalten
void HAL_UART_TxCpltCallback(UART_HandleTypeDef *huart) {
    if (huart->Instance == USART2) {
        MB_TxCpltCallback();
    }

	else if (huart->Instance == USART1) {
	    //TERM_TxCpltCallback(huart);
		SIM_TxCpltCallback(huart);
	}

	else if (huart->Instance == UART4) {
	    //SIM_TxCpltCallback(huart);
		TERM_TxCpltCallback(huart);
	}
}

// RX COMPLETE Callback (wird nicht verwendet!)
void HAL_UART_RxCpltCallback(UART_HandleTypeDef *huart) {
    if (huart->Instance == USART2) {
        MB_RxEventCallback(1); // sollte nicht auftreten
    }
    else if (huart->Instance == USART1) {
    	//TERM_RxCpltCallback(huart);
    	SIM_RxCpltCallback(huart, 1);
    }
    else if (huart->Instance == UART4) {
    	//SIM_RxCpltCallback(huart, 1);
    	TERM_RxCpltCallback(huart);
    }
}
/* USER CODE END 4 */

// UART-Error Callback
void HAL_UART_ErrorCallback(UART_HandleTypeDef *huart)
{
    (void)huart->Instance->RDR;

    uint32_t isr = huart->Instance->ISR;
    if (isr & USART_ISR_ORE) __HAL_UART_CLEAR_OREFLAG(huart);
    if (isr & USART_ISR_FE)  __HAL_UART_CLEAR_FEFLAG(huart);
    if (isr & USART_ISR_NE)  __HAL_UART_CLEAR_NEFLAG(huart);
    if (isr & USART_ISR_PE)  __HAL_UART_CLEAR_PEFLAG(huart);

    huart->RxState = HAL_UART_STATE_READY;
    __HAL_UNLOCK(huart);

    //Test Test
    if (huart->Instance == USART1) {
    	SIM_Init(huart);
    } else if (huart->Instance == UART4) {
        TERM_Init(huart);
    } else if (huart->Instance == USART2) {

        HAL_UART_AbortReceive_IT(huart);

        __HAL_UART_CLEAR_OREFLAG(huart);
        __HAL_UART_CLEAR_FEFLAG(huart);
        __HAL_UART_CLEAR_NEFLAG(huart);
        __HAL_UART_CLEAR_PEFLAG(huart);
        __HAL_UART_FLUSH_DRREGISTER(huart);

        MB_Init(&huart2);

    }

}
/* USER CODE END 4 */

void Error_Handler(void)
{
  __disable_irq();
  while (1)
  {
  }
}
